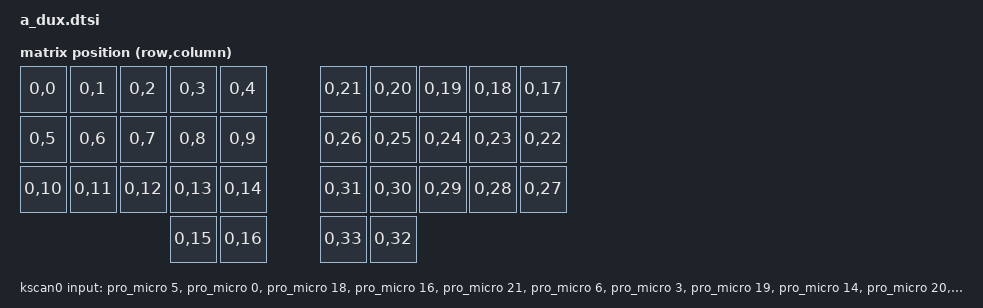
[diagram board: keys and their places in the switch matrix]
/*
 * Copyright (c) 2021 The ZMK Contributors
 *
 * SPDX-License-Identifier: MIT
 */

#include <dt-bindings/zmk/matrix_transform.h>

/ {

	chosen {
		zmk,kscan = &kscan0;
		zmk,matrix_transform = &default_transform;
	};

	default_transform: keymap_transform_0 {
		compatible = "zmk,matrix-transform";
		columns = <34>;
		rows = <1>;
		map = <
			RC(0,0)  RC(0,1)  RC(0,2)  RC(0,3)  RC(0,4)    RC(0,21) RC(0,20) RC(0,19) RC(0,18) RC(0,17)
			RC(0,5)  RC(0,6)  RC(0,7)  RC(0,8)  RC(0,9)    RC(0,26) RC(0,25) RC(0,24) RC(0,23) RC(0,22)
			RC(0,10) RC(0,11) RC(0,12) RC(0,13) RC(0,14)   RC(0,31) RC(0,30) RC(0,29) RC(0,28) RC(0,27)
			                           RC(0,15) RC(0,16)   RC(0,33) RC(0,32)
		>;
	};

	kscan0: kscan {
		compatible = "zmk,kscan-gpio-direct";
		label = "KSCAN";
		input-gpios =
			<&pro_micro  5 (GPIO_ACTIVE_LOW | GPIO_PULL_UP)>,
			<&pro_micro  0 (GPIO_ACTIVE_LOW | GPIO_PULL_UP)>,
			<&pro_micro 18 (GPIO_ACTIVE_LOW | GPIO_PULL_UP)>,
			<&pro_micro 16 (GPIO_ACTIVE_LOW | GPIO_PULL_UP)>,
			<&pro_micro 21 (GPIO_ACTIVE_LOW | GPIO_PULL_UP)>,
			<&pro_micro  6 (GPIO_ACTIVE_LOW | GPIO_PULL_UP)>,
			<&pro_micro  3 (GPIO_ACTIVE_LOW | GPIO_PULL_UP)>,
			<&pro_micro 19 (GPIO_ACTIVE_LOW | GPIO_PULL_UP)>,
			<&pro_micro 14 (GPIO_ACTIVE_LOW | GPIO_PULL_UP)>,
			<&pro_micro 20 (GPIO_ACTIVE_LOW | GPIO_PULL_UP)>,
			<&pro_micro  7 (GPIO_ACTIVE_LOW | GPIO_PULL_UP)>,
			<&pro_micro  4 (GPIO_ACTIVE_LOW | GPIO_PULL_UP)>,
			<&pro_micro  1 (GPIO_ACTIVE_LOW | GPIO_PULL_UP)>,
			<&pro_micro 15 (GPIO_ACTIVE_LOW | GPIO_PULL_UP)>,
			<&pro_micro 10 (GPIO_ACTIVE_LOW | GPIO_PULL_UP)>,
			<&pro_micro  8 (GPIO_ACTIVE_LOW | GPIO_PULL_UP)>,
			<&pro_micro  9 (GPIO_ACTIVE_LOW | GPIO_PULL_UP)>
		;
	};

};
